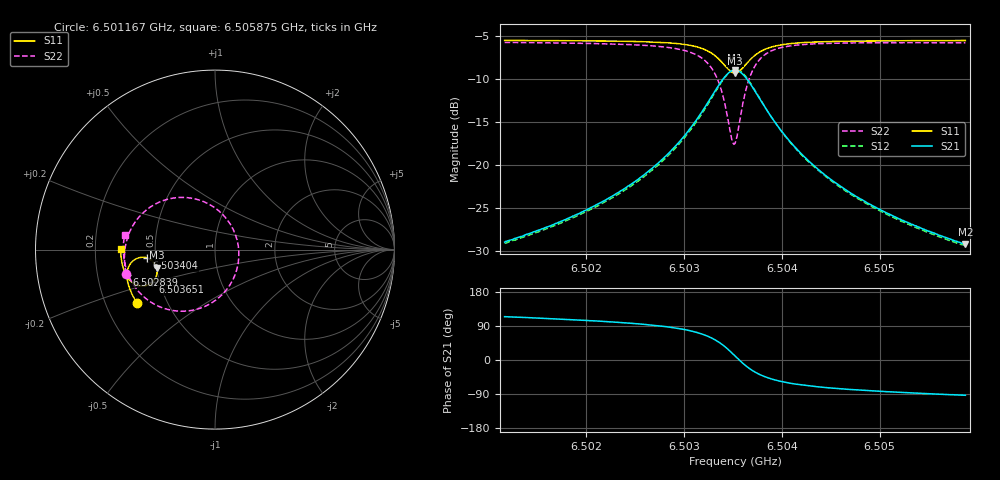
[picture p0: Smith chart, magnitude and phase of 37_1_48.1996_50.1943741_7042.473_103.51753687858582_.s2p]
#  HZ  S  RI  R  50.00
! Rohde & Schwarz Vector Network Analyzer
! Rohde-Schwarz,ZNB20-2Port,1311601062101988,3.16
! Created: UTC 3/20/2024, 11:37:42 AM
! freq[Hz]  re:S11  im:S11  re:S21  im:S21  re:S12  im:S12  re:S22  im:S22
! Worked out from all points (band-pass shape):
!   401 points, 6.501167 GHz to 6.505875 GHz, reference 50 ohm
!   highest |S21| = -9.02 dB at 6.503521 GHz (marker M1); lowest = -29.2 dB at 6.505875 GHz (marker M2)
!   |S21| within 3 dB of the highest: 6.503286 GHz to 6.503757 GHz (470.8 kHz wide, 0.00724 % of centre)
!   lowest |S11| = -9.3 dB at 6.503521 GHz (marker M3), VSWR 2.03, Z = 25 - j5.66 ohm
!   |S11| at or under -10 dB: nowhere
!   |S22| runs from -17.6 to -5.8 dB; largest |S21 - S12| = 0.013
!   S11 on the Smith chart (normalised r, x): 6.501167 GHz: 0.34, -0.27; 6.502839 GHz: 0.33, -0.12; 6.503404 GHz: 0.45, -0.05; 6.503651 GHz: 0.46, -0.20; 6.505875 GHz: 0.31, +0.00
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6.5011675e9  -0.436 -0.295  -0.0147 0.0325  -0.0129 0.0327  -0.4953 -0.1333
6.501956e9  -0.4685 -0.2347  -0.0138 0.0514  -0.0112 0.0509  -0.5045 -0.0453
6.5023915e9  -0.483 -0.1944  -0.0104 0.072  -0.00728 0.0708  -0.499 0.0206
6.5027445e9  -0.4902 -0.1532  -0.000377 0.1034  0.00339 0.1007  -0.4762 0.0971
6.5028387e9  -0.4906 -0.1398  0.00562 0.116  0.00943 0.1127  -0.4632 0.1238
6.5030388e9  -0.4846 -0.1051  0.0308 0.1528  0.0343 0.1479  -0.4107 0.1949
6.50318e9  -0.4681 -0.0745  0.0728 0.188  0.0754 0.1817  -0.3299 0.2552
6.5033095e9  -0.4303 -0.0474  0.1534 0.2141  0.1541 0.2078  -0.1827 0.2908
6.5034036e9  -0.3816 -0.0454  0.2488 0.196  0.2489 0.1914  -0.0172 0.2437
6.503486e9  -0.337 -0.0767  0.3299 0.1171  0.3327 0.113  0.112 0.0878
6.5035213e9  -0.3258 -0.1001  0.3479 0.0661  0.3517 0.0605  0.1328 -0.00863
6.5035448e9  -0.3228 -0.117  0.351 0.0298  0.3554 0.0228  0.1293 -0.0752
6.5035802e9  -0.3252 -0.1424  0.3429 -0.0224  0.3467 -0.0317  0.0996 -0.1681
6.5036508e9  -0.3486 -0.1812  0.2933 -0.1015  0.2933 -0.1136  -0.0174 -0.296
6.5037449e9  -0.3911 -0.2017  0.2113 -0.1458  0.2062 -0.1567  -0.1844 -0.3434
6.5038155e9  -0.4182 -0.2018  0.1618 -0.151  0.1547 -0.1592  -0.2772 -0.3296
6.5038979e9  -0.4421 -0.1945  0.1197 -0.1445  0.1121 -0.1503  -0.351 -0.2965
6.5040627e9  -0.4721 -0.1734  0.0699 -0.1225  0.0631 -0.1249  -0.4317 -0.2265
6.5043098e9  -0.495 -0.1421  0.0358 -0.0944  0.0306 -0.0949  -0.4807 -0.1464
6.5046865e9  -0.5116 -0.1015  0.015 -0.068  0.0115 -0.0675  -0.505 -0.0654
6.5050984e9  -0.5205 -0.0623  0.00544 -0.0515  0.00306 -0.0508  -0.5107 -0.00369
6.5058751e9  -0.5261 0.00449  -0.00187 -0.0345  -0.00327 -0.0336  -0.504 0.0825
